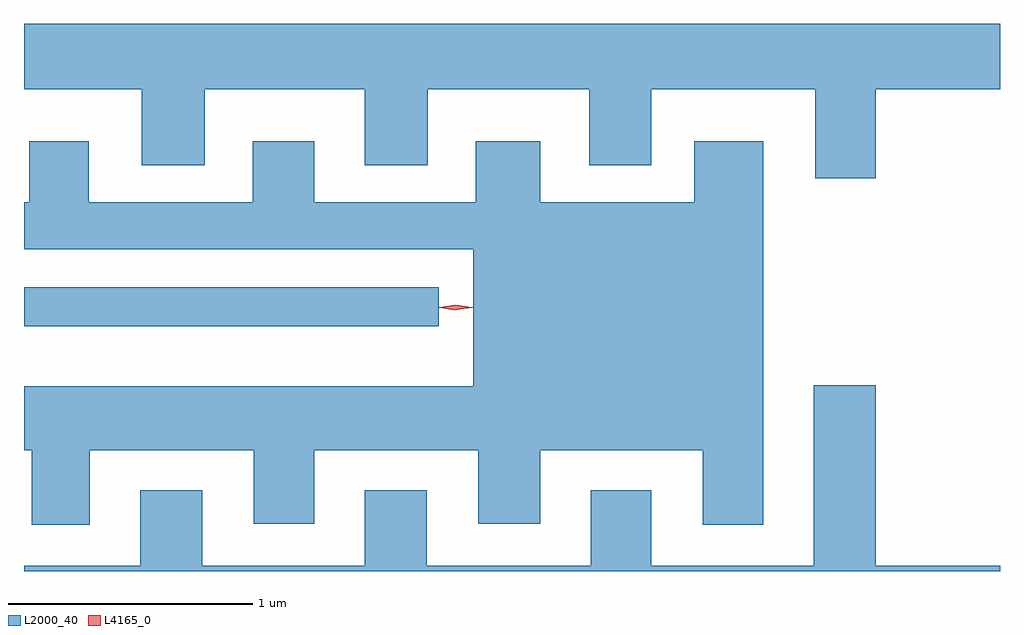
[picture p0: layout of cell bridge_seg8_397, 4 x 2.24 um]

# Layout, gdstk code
import gdstk
lib = gdstk.Library(unit=1e-6, precision=1e-09)
def R(c, l, rs):  # rectangles x0, y0, x1, y1
    for r in rs: c.add(gdstk.rectangle(r[:2], r[2:], *l))
def P(c, l, *ps):  # polygons
    for p in ps: c.add(gdstk.Polygon(p, *l))
L2000_40 = (2000, 40)
L4165_0 = (4165, 0)

bridge_seg8_397 = lib.new_cell('bridge_seg8_397')
R(bridge_seg8_397, L2000_40, [(626.969,1839.886,628.668,1840.044)])
P(bridge_seg8_397, L2000_40, [(630.459,1840.856),(630.969,1840.856),(630.969,1841.124),(626.969,1841.124),(626.969,1840.856),(627.451,1840.856),(627.451,1840.546),(627.709,1840.546),(627.709,1840.856),(628.366,1840.856),(628.366,1840.546),(628.624,1840.546),(628.624,1840.856),(629.286,1840.856),(629.286,1840.546),(629.539,1840.546),(629.539,1840.856),(630.211,1840.856),(630.211,1840.491),(630.459,1840.491)],
  [(627.239,1839.376),(627.911,1839.376),(627.911,1839.076),(628.159,1839.076),(628.159,1839.376),(628.831,1839.376),(628.831,1839.076),(629.084,1839.076),(629.084,1839.376),(629.751,1839.376),(629.751,1839.071),(629.999,1839.071),(629.999,1840.644),(629.716,1840.644),(629.716,1840.394),(629.084,1840.394),(629.084,1840.644),(628.821,1840.644),(628.821,1840.394),(628.159,1840.394),(628.159,1840.644),(627.906,1840.644),(627.906,1840.394),(627.234,1840.394),(627.234,1840.644),(626.991,1840.644),(626.991,1840.394),(626.969,1840.394),(626.969,1840.201),(628.811,1840.201),(628.811,1839.639),(626.969,1839.639),(626.969,1839.376),(627.001,1839.376),(627.001,1839.071),(627.239,1839.071)],
  [(630.969,1838.904),(630.459,1838.904),(630.459,1839.644),(630.206,1839.644),(630.206,1838.904),(629.539,1838.904),(629.539,1839.214),(629.291,1839.214),(629.291,1838.904),(628.619,1838.904),(628.619,1839.214),(628.366,1839.214),(628.366,1838.904),(627.699,1838.904),(627.699,1839.214),(627.446,1839.214),(627.446,1838.904),(626.969,1838.904),(626.969,1838.882),(630.969,1838.882)])
P(bridge_seg8_397, L4165_0, [(628.739,1839.953),(628.67,1839.962),(628.669,1839.963),(628.67,1839.963),(628.739,1839.973),(628.807,1839.963),(628.808,1839.963),(628.807,1839.962)],
  [(628.735,1839.951),(628.673,1839.96),(628.673,1839.961),(628.673,1839.961),(628.735,1839.971),(628.797,1839.961),(628.798,1839.961),(628.797,1839.96)])

lib.write_gds('bridge_seg8_397.gds')
